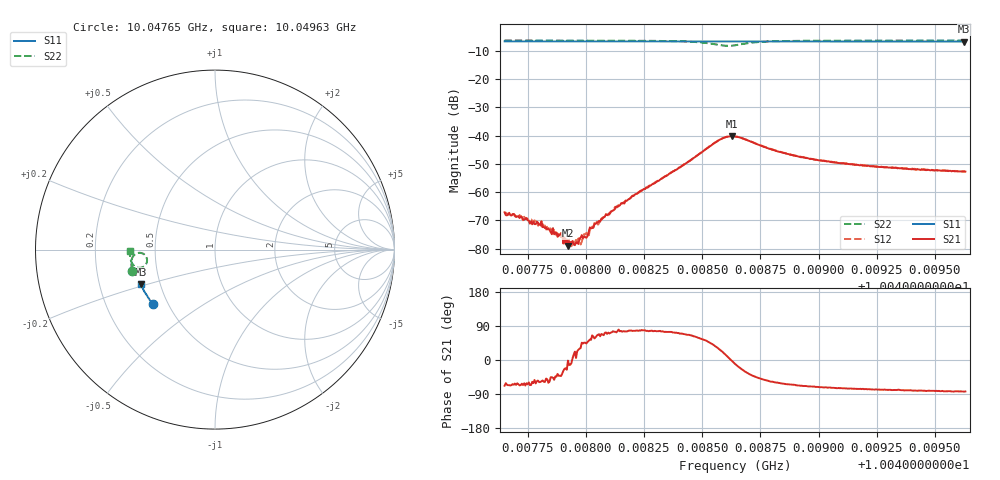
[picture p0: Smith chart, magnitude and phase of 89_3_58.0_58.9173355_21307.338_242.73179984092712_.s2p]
#  HZ  S  RI  R  50.00
! Rohde & Schwarz Vector Network Analyzer
! Rohde-Schwarz,ZNB20-2Port,1311601062101988,3.16
! Created: UTC 3/21/2024, 12:54:14 AM
! freq[Hz]  re:S11  im:S11  re:S21  im:S21  re:S12  im:S12  re:S22  im:S22
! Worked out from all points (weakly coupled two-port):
!   401 points, 10.04765 GHz to 10.04963 GHz, reference 50 ohm
!   highest |S21| = -40.24 dB at 10.04863 GHz (marker M1); lowest = -78.9 dB at 10.04792 GHz (marker M2)
!   lowest |S11| = -6.8 dB at 10.04963 GHz (marker M3), VSWR 2.68, Z = 19.5 - j9.51 ohm
!   |S11| at or under -10 dB: nowhere
!   |S22| runs from -8.3 to -6.4 dB; largest |S21 - S12| = 0.00068
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1.0047651e10  -0.345 -0.3042  0.000165 -0.000408  0.000177 -0.000375  -0.4618 -0.1166
1.0047716e10  -0.3477 -0.3009  0.000137 -0.000321  0.000205 -0.000334  -0.4629 -0.112
1.004777e10  -0.35 -0.298  0.000145 -0.000228  0.000163 -0.000266  -0.4635 -0.1079
1.00478e10  -0.3513 -0.2965  0.00014 -0.000228  0.000188 -0.000209  -0.464 -0.1055
1.0047844e10  -0.353 -0.2941  0.000117 -0.000179  0.000168 -0.000154  -0.4645 -0.1022
1.0047889e10  -0.3549 -0.2917  0.000131 -0.000116  0.000139 -6.49e-05  -0.465 -0.0985
1.0047923e10  -0.3563 -0.2899  0.000113 -2.96e-06  0.000123 -3.04e-05  -0.4653 -0.0956
1.0047943e10  -0.3571 -0.289  0.000137 1.11e-05  0.000133 3.52e-05  -0.4656 -0.0942
1.0047958e10  -0.3576 -0.288  0.000126 1.17e-05  0.000141 5.66e-05  -0.4657 -0.0927
1.0047983e10  -0.3587 -0.2867  0.000122 0.000125  9.48e-05 9.41e-05  -0.466 -0.0908
1.0047998e10  -0.3593 -0.286  0.000113 0.000116  0.000144 0.000107  -0.466 -0.0893
1.0048037e10  -0.3609 -0.2839  0.000147 0.000226  0.000128 0.000254  -0.4664 -0.086
1.0048131e10  -0.3646 -0.2789  0.000163 0.000533  0.000105 0.000535  -0.4667 -0.0768
1.0048314e10  -0.3714 -0.2687  0.00038 0.00155  0.000318 0.0016  -0.4644 -0.0553
1.0048562e10  -0.38 -0.2547  0.00647 0.00435  0.00619 0.00477  -0.4033 -0.0215
1.0048626e10  -0.3817 -0.2515  0.00972 -0.000298  0.00974 0.000355  -0.3791 -0.0669
1.0048641e10  -0.3823 -0.2508  0.00948 -0.00171  0.00961 -0.00108  -0.3834 -0.0791
1.0048819e10  -0.389 -0.2411  0.00269 -0.00458  0.003 -0.00447  -0.4544 -0.0862
1.0048973e10  -0.3941 -0.2323  0.00131 -0.00362  0.00149 -0.00355  -0.4674 -0.0645
1.0049304e10  -0.4044 -0.2128  0.000537 -0.00266  0.000694 -0.00266  -0.4739 -0.0323
1.0049626e10  -0.4134 -0.1935  0.000263 -0.0023  0.000383 -0.00228  -0.4754 -0.00743
1.0049631e10  -0.4136 -0.1934  0.000281 -0.00229  0.000414 -0.0023  -0.4753 -0.00709
